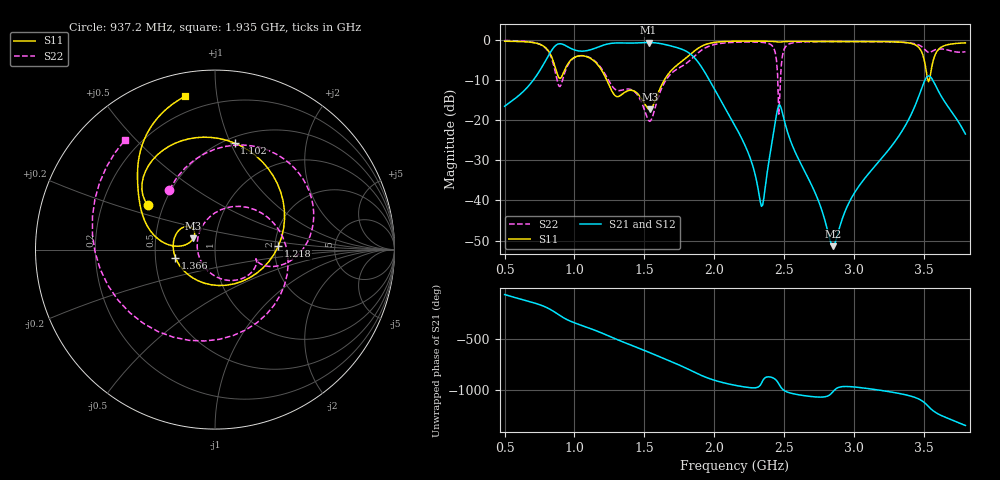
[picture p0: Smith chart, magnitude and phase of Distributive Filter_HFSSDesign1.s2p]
! Touchstone file exported from HFSS 2024.1.0
!  File:  C:/Users/bglau/Documents/Ansoft/Distributive Filter.aedt
!  Generated:  04:29:35 PM Apr 28, 2025
!  Design:  HFSSDesign1
!  Project:  Distributive Filter
!  Setup:  Setup2
!  Solution:  Sweep
! Variables:
!  CopperThickness = 0.035mm
!  TL50 = 3.31558mm
!  labmda = 186.875mm
# GHz S MA R 50.000000
! Terminal data exported
! Port[1] = 1
! Port[2] = 2
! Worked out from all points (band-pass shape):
!   401 points, 500 MHz to 3.8 GHz, reference 50 ohm
!   highest |S21| = -0.67 dB at 1.531 GHz (marker M1); lowest = -51.4 dB at 2.851 GHz (marker M2)
!   |S21| within 3 dB of the highest: 818.3 MHz to 1.836 GHz (1.017 GHz wide, 76.7 % of centre)
!   lowest |S11| = -17.3 dB at 1.54 GHz (marker M3), VSWR 1.31, Z = 38.9 + j4.92 ohm
!   |S11| at or under -10 dB: 1.231 GHz to 1.644 GHz (412.9 MHz wide, 28.7 % of centre); 3.532072 GHz to 3.540964 GHz (8.891 MHz wide, 0.251 % of centre)
!   |S22| runs from -20.3 to -0.2 dB; largest |S21 - S12| = 1.5e-14
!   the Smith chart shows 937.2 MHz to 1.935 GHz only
!   S11 on the Smith chart (normalised r, x): 937.2 MHz: 0.41, +0.25; 1.102 GHz: 0.56, +1.04; 1.218 GHz: 2.09, +0.10; 1.366 GHz: 0.64, -0.06; 1.935 GHz: 0.12, +0.82
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0.5  0.9611 -72.4  0.1488 -75.2  0.1488 -75.2  0.9819 102.2
! Gamma 0 0 0 0
! Port Impedance 50 0 50 0
0.7805  0.8313 150.5  0.502 171.8  0.502 171.8  0.8243 16.5
0.863  0.4512 117.9  0.8418 111.7  0.8418 111.7  0.3989 -67.3
0.93725  0.4473 146.5  0.8471 49.5  0.8471 49.5  0.4189 127.3
1.05275  0.6341 103.3  0.7224 -14.0  0.7224 -14.0  0.6351 49.5
1.10225  0.6035 79.5  0.7416 -37.6  0.7416 -37.6  0.6088 27.9
1.21775  0.3539 3.3  0.8688 -98.6  0.8688 -98.6  0.3785 -13.2
1.36625  0.225 -168.4  0.9119 177.3  0.9119 177.3  0.2428 -17.7
1.53125  0.1371 148.0  0.9258 88.8  0.9258 88.8  0.09899 -148.5
1.5395  0.136 152.9  0.9255 84.2  0.9255 84.2  0.09656 -166.1
1.6055  0.2299 175.0  0.9042 47.0  0.9042 47.0  0.2051 89.9
1.81175  0.6193 134.1  0.7026 -73.6  0.7026 -73.6  0.5257 -105.9
1.9355  0.8697 101.1  0.3903 -150.5  0.3903 -150.5  0.7906 129.3
2.15  0.9609 45.9  0.08521 129.1  0.08521 129.1  0.9319 21.5
2.33975  0.9612 5.2  0.008441 149.7  0.008441 149.7  0.9309 -38.9
2.47175  0.938 -21.4  0.1538 124.2  0.1538 124.2  0.2191 42.1
2.513  0.9528 -29.5  0.08505 70.6  0.08505 70.6  0.8258 -33.2
2.70275  0.9547 -68.3  0.01498 19.6  0.01498 19.6  0.9464 -97.6
2.85125  0.9532 -97.9  0.002693 66.6  0.002693 66.6  0.951 -129.7
3.2555  0.9464 -177.0  0.04382 67.2  0.04382 67.2  0.9436 145.7
3.6515  0.8489 139.2  0.1696 -176.7  0.1696 -176.7  0.7604 10.5
3.8  0.9165 106.7  0.06711 101.4  0.06711 101.4  0.7099 -129.9
